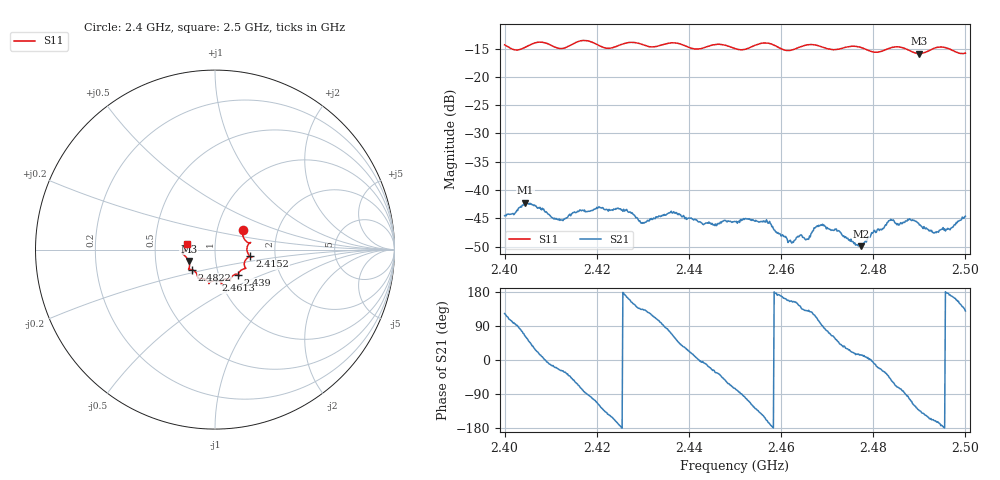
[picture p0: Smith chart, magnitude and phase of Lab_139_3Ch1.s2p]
# Hz S RI R 50
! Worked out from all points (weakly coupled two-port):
!   601 points, 2.4 GHz to 2.5 GHz, reference 50 ohm
!   highest |S21| = -42.20 dB at 2.4045 GHz (marker M1); lowest = -49.9 dB at 2.4773 GHz (marker M2)
!   lowest |S11| = -15.9 dB at 2.49 GHz (marker M3), VSWR 1.38, Z = 36.9 - j4.84 ohm
!   |S11| at or under -10 dB: start of sweep to end of sweep
!   S12 and S22 are empty: the file has one direction only
!   S11 on the Smith chart (normalised r, x): 2.4 GHz: 1.33, +0.31; 2.4152 GHz: 1.48, -0.11; 2.439 GHz: 1.24, -0.36; 2.4613 GHz: 0.96, -0.34; 2.4822 GHz: 0.76, -0.17; 2.5 GHz: 0.73, +0.05
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2.4e9  0.1559 0.1113  -0.00319 0.00501  0 0  0 0
2.4045e9  0.1771 0.0433  0.00358 0.00689  0 0  0 0
2.407833e9  0.1982 0.0398  0.00663 0.00153  0 0  0 0
2.412167e9  0.1777 0.00325  0.00484 -0.00256  0 0  0 0
2.415167e9  0.1948 -0.0366  0.00361 -0.00531  0 0  0 0
2.416667e9  0.2041 -0.0425  0.00169 -0.00635  0 0  0 0
2.424667e9  0.1644 -0.0922  -0.0068 -0.00136  0 0  0 0
2.43e9  0.1588 -0.1084  -0.00353 0.00368  0 0  0 0
2.433333e9  0.1325 -0.1324  -0.00146 0.00561  0 0  0 0
2.439e9  0.1283 -0.1389  0.00477 0.00325  0 0  0 0
2.45e9  0.0688 -0.1637  0.00137 -0.00511  0 0  0 0
2.457e9  0.0395 -0.1947  -0.00495 -0.00182  0 0  0 0
2.461333e9  0.0071 -0.1707  -0.00339 0.00142  0 0  0 0
2.4655e9  -0.0332 -0.1879  -0.00237 0.0028  0 0  0 0
2.466667e9  -0.0335 -0.1898  -0.00248 0.00339  0 0  0 0
2.469167e9  -0.0367 -0.1783  0.000225 0.00485  0 0  0 0
2.477333e9  -0.0956 -0.1546  0.00311 0.000767  0 0  0 0
2.482167e9  -0.1279 -0.112  0.00397 -0.00226  0 0  0 0
2.483333e9  -0.1393 -0.1104  0.00394 -0.00363  0 0  0 0
2.49e9  -0.1467 -0.0639  -0.00341 -0.00356  0 0  0 0
2.493667e9  -0.1796 -0.0246  -0.00402 -0.00126  0 0  0 0
2.5e9  -0.1583 0.0332  -0.00374 0.00456  0 0  0 0
